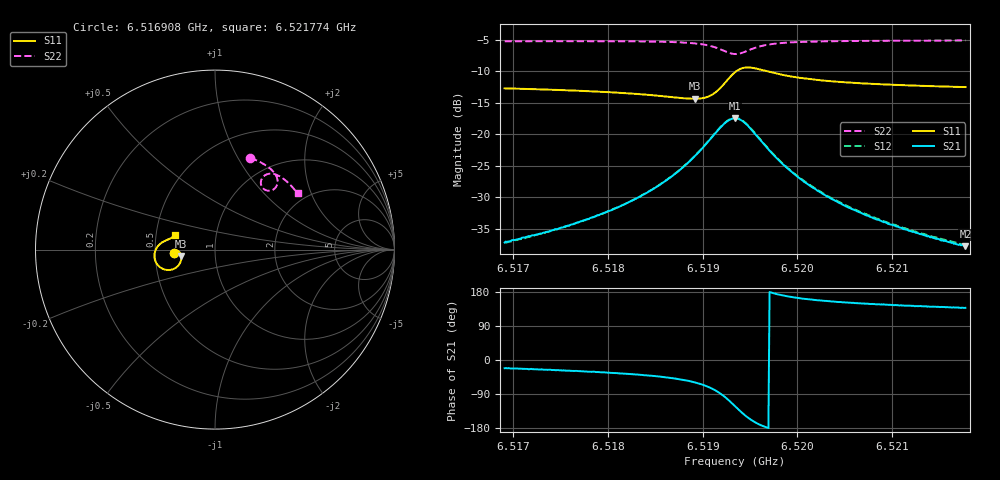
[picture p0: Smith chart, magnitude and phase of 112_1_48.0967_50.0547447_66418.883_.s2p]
#  HZ  S  RI  R  50.00
! Rohde & Schwarz Vector Network Analyzer
! Rohde-Schwarz,ZNB20-2Port,1311601062101988,3.16
! Created: UTC 12/23/2023, 3:45:50 AM
! freq[Hz]  re:S11  im:S11  re:S21  im:S21  re:S12  im:S12  re:S22  im:S22
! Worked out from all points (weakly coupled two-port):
!   401 points, 6.516908 GHz to 6.521774 GHz, reference 50 ohm
!   highest |S21| = -17.45 dB at 6.519341 GHz (marker M1); lowest = -37.7 dB at 6.521774 GHz (marker M2)
!   lowest |S11| = -14.4 dB at 6.518915 GHz (marker M3), VSWR 1.47, Z = 34.1 - j2.5 ohm
!   |S11| at or under -10 dB: start of sweep to 6.519353 GHz; 6.519683 GHz to end of sweep
!   |S22| runs from -7.3 to -5.1 dB; largest |S21 - S12| = 0.004
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6.5169083e9  -0.2311 -0.019  0.0129 -0.00514  0.0131 -0.00456  0.1969 0.5117
6.5173705e9  -0.2261 -0.0121  0.0152 -0.00736  0.0154 -0.00691  0.2309 0.4975
6.5177233e9  -0.2212 -0.00807  0.0178 -0.0102  0.0181 -0.00961  0.2572 0.4846
6.5181855e9  -0.2122 -0.0055  0.0227 -0.0166  0.0232 -0.016  0.2918 0.4632
6.5185382e9  -0.202 -0.00965  0.0286 -0.0272  0.0296 -0.0264  0.3191 0.4407
6.5187329e9  -0.1947 -0.0179  0.0323 -0.0384  0.0337 -0.0376  0.3342 0.4227
6.5189153e9  -0.1882 -0.0353  0.0344 -0.0573  0.0364 -0.0567  0.3461 0.3982
6.5190248e9  -0.188 -0.0541  0.0314 -0.0759  0.0339 -0.0754  0.3489 0.3776
6.51911e9  -0.1948 -0.0751  0.0219 -0.0949  0.025 -0.0949  0.3444 0.3574
6.5192438e9  -0.2364 -0.1101  -0.0205 -0.1229  -0.0171 -0.1244  0.3127 0.3295
6.5192924e9  -0.2636 -0.1137  -0.0454 -0.1235  -0.0423 -0.1255  0.2931 0.3284
6.5193411e9  -0.2925 -0.1065  -0.0708 -0.114  -0.0679 -0.1169  0.2741 0.3362
6.5193897e9  -0.3169 -0.0884  -0.0904 -0.0955  -0.0884 -0.0989  0.2606 0.3518
6.5194506e9  -0.3341 -0.0578  -0.1024 -0.0671  -0.1013 -0.0706  0.2554 0.3754
6.51956e9  -0.3333 -0.00897  -0.0965 -0.0253  -0.0966 -0.0283  0.2697 0.4071
6.5196695e9  -0.3174 0.0199  -0.0797 -0.00329  -0.0803 -0.00566  0.2922 0.4204
6.5199006e9  -0.2876 0.0444  -0.052 0.0112  -0.0529 0.00992  0.3308 0.4208
6.5201561e9  -0.2677 0.0538  -0.0355 0.0136  -0.0364 0.0128  0.3595 0.4092
6.520521e9  -0.2513 0.0609  -0.0235 0.0127  -0.0243 0.0122  0.3895 0.3886
6.5209711e9  -0.2388 0.0675  -0.016 0.0109  -0.0165 0.0108  0.4181 0.362
6.5212873e9  -0.2322 0.0721  -0.0128 0.00995  -0.0132 0.00981  0.4356 0.343
6.5217739e9  -0.2239 0.0787  -0.00959 0.00872  -0.00998 0.0086  0.4599 0.313
